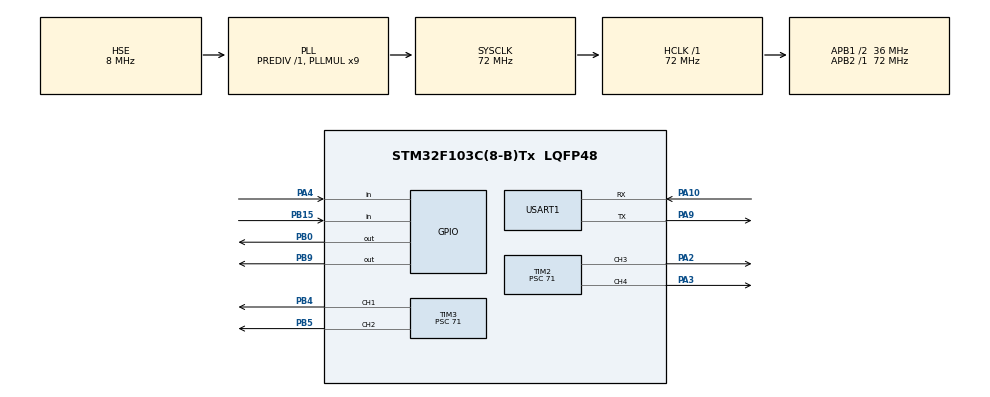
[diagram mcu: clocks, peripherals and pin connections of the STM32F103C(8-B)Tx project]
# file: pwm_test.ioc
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Dma.Request0=USART1_RX
Dma.Request1=USART1_TX
Dma.USART1_RX.0.Direction=DMA_PERIPH_TO_MEMORY
Dma.USART1_RX.0.Instance=DMA1_Channel5
Dma.USART1_RX.0.MemDataAlignment=DMA_MDATAALIGN_BYTE
Dma.USART1_RX.0.MemInc=DMA_MINC_ENABLE
Dma.USART1_RX.0.Mode=DMA_NORMAL
Dma.USART1_RX.0.PeriphDataAlignment=DMA_PDATAALIGN_BYTE
Dma.USART1_RX.0.PeriphInc=DMA_PINC_DISABLE
Dma.USART1_RX.0.Priority=DMA_PRIORITY_LOW
Dma.USART1_TX.1.Direction=DMA_MEMORY_TO_PERIPH
Dma.USART1_TX.1.Instance=DMA1_Channel4
Dma.USART1_TX.1.MemDataAlignment=DMA_MDATAALIGN_BYTE
Dma.USART1_TX.1.MemInc=DMA_MINC_ENABLE
Dma.USART1_TX.1.Mode=DMA_NORMAL
Dma.USART1_TX.1.PeriphDataAlignment=DMA_PDATAALIGN_BYTE
Dma.USART1_TX.1.PeriphInc=DMA_PINC_DISABLE
Dma.USART1_TX.1.Priority=DMA_PRIORITY_LOW
Mcu.Family=STM32F1
Mcu.Name=STM32F103C(8-B)Tx
Mcu.Package=LQFP48
NVIC.DMA1_Channel4_IRQn=true\:0\:0\:false\:false\:true\:false\:true
NVIC.DMA1_Channel5_IRQn=true\:0\:0\:false\:false\:true\:false\:true
NVIC.PriorityGroup=NVIC_PRIORITYGROUP_4
NVIC.USART1_IRQn=true\:0\:0\:false\:false\:true\:true\:true
PA10.GPIO_PuPd=GPIO_NOPULL
PA10.Mode=Asynchronous
PA10.Signal=USART1_RX
PA13.Mode=Serial_Wire
PA13.Signal=SYS_JTMS-SWDIO
PA14.Mode=Serial_Wire
PA14.Signal=SYS_JTCK-SWCLK
PA2.Signal=S_TIM2_CH3
PA3.Signal=S_TIM2_CH4
PA4.GPIO_PuPd=GPIO_NOPULL
PA4.Signal=GPIO_Input
PA9.Mode=Asynchronous
PA9.Signal=USART1_TX
PB0.PinState=GPIO_PIN_SET
PB0.Signal=GPIO_Output
PB15.Signal=GPIO_Input
PB4.Signal=S_TIM3_CH1
PB5.Signal=S_TIM3_CH2
PB9.PinState=GPIO_PIN_SET
PB9.Signal=GPIO_Output
PD0-OSC_IN.Mode=HSE-External-Oscillator
PD0-OSC_IN.Signal=RCC_OSC_IN
PD1-OSC_OUT.Mode=HSE-External-Oscillator
PD1-OSC_OUT.Signal=RCC_OSC_OUT
ProjectManager.HeapSize=0x200
ProjectManager.StackSize=0x400
ProjectManager.TargetToolchain=MDK-ARM V5
RCC.AHBFreq_Value=72000000
RCC.APB1CLKDivider=RCC_HCLK_DIV2
RCC.APB1Freq_Value=36000000
RCC.APB1TimFreq_Value=72000000
RCC.APB2Freq_Value=72000000
RCC.APB2TimFreq_Value=72000000
RCC.HCLKFreq_Value=72000000
RCC.PLLMUL=RCC_PLL_MUL9
RCC.PLLSourceVirtual=RCC_PLLSOURCE_HSE
RCC.SYSCLKFreq_VALUE=72000000
RCC.SYSCLKSource=RCC_SYSCLKSOURCE_PLLCLK
RCC.USBFreq_Value=72000000
SH.S_TIM2_CH3.0=TIM2_CH3,PWM Generation3 CH3
SH.S_TIM2_CH4.0=TIM2_CH4,PWM Generation4 CH4
SH.S_TIM3_CH1.0=TIM3_CH1,PWM Generation1 CH1
SH.S_TIM3_CH2.0=TIM3_CH2,PWM Generation2 CH2
TIM2.Channel-PWM\ Generation3\ CH3=TIM_CHANNEL_3
TIM2.Channel-PWM\ Generation4\ CH4=TIM_CHANNEL_4
TIM2.Period=19999
TIM2.Prescaler=71
TIM3.Channel-PWM\ Generation1\ CH1=TIM_CHANNEL_1
TIM3.Channel-PWM\ Generation2\ CH2=TIM_CHANNEL_2
TIM3.Period=19999
TIM3.Prescaler=71
USART1.VirtualMode=VM_ASYNC
board=custom

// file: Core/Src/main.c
/* USER CODE BEGIN Header */
/**
  ******************************************************************************
  * @file           : main.c
  * @brief          : Main program body
  ******************************************************************************
  * @attention
  *
  * <h2><center>&copy; Copyright (c) 2020 STMicroelectronics.
  * All rights reserved.</center></h2>
  *
  * This software component is licensed by ST under BSD 3-Clause license,
  * the "License"; You may not use this file except in compliance with the
  * License. You may obtain a copy of the License at:
  *                        opensource.org/licenses/BSD-3-Clause
  *
  ******************************************************************************
  */
/* USER CODE END Header */
#include "main.h"
#include "dma.h"
#include "tim.h"
#include "usart.h"
#include "gpio.h"

void SystemClock_Config(void);

/* USER CODE BEGIN 0 */

//状态标志位
int flag1 = 2;
uint8_t flag = 2;
uint8_t flag_last = 2;
uint8_t alive_flag = 0;
uint8_t timeCount = 0;
uint8_t restand = 0;
//复活后使用

//有悬挂舵轮底盘用
int pwm_alive_1 = 1040;//1040
int pwm_alive_2 = 900;//1120
int pwm_alive_3 = 960; //940
int pwm_alive_4 = 1050;//1050

void AGV_alive();
//ture above

/* USER CODE END 0 */

int main(void)
{

  /* MCU Configuration--------------------------------------------------------*/

  /* Reset of all peripherals, Initializes the Flash interface and the Systick. */
  HAL_Init();

  /* Configure the system clock */
  SystemClock_Config();

  /* Initialize all configured peripherals */
  MX_GPIO_Init();
  MX_DMA_Init();
  MX_TIM2_Init();
  MX_TIM3_Init();
  MX_USART1_UART_Init();
  /* USER CODE BEGIN 2 */

	HAL_Delay(2000);

  /* USER CODE END 2 */

  /* Infinite loop */
  while (1)
  {

    /* USER CODE BEGIN 3 */
		AGV_alive();

  }
  /* USER CODE END 3 */
}

void SystemClock_Config(void)
{
  RCC_OscInitTypeDef RCC_OscInitStruct = {0};
  RCC_ClkInitTypeDef RCC_ClkInitStruct = {0};

  /** Initializes the RCC Oscillators according to the specified parameters
  * in the RCC_OscInitTypeDef structure.
  */
  RCC_OscInitStruct.OscillatorType = RCC_OSCILLATORTYPE_HSE;
  RCC_OscInitStruct.HSEState = RCC_HSE_ON;
  RCC_OscInitStruct.HSEPredivValue = RCC_HSE_PREDIV_DIV1;
  RCC_OscInitStruct.HSIState = RCC_HSI_ON;
  RCC_OscInitStruct.PLL.PLLState = RCC_PLL_ON;
  RCC_OscInitStruct.PLL.PLLSource = RCC_PLLSOURCE_HSE;
  RCC_OscInitStruct.PLL.PLLMUL = RCC_PLL_MUL9;
  if (HAL_RCC_OscConfig(&RCC_OscInitStruct) != HAL_OK)
  {
    Error_Handler();
  }
  /** Initializes the CPU, AHB and APB buses clocks
  */
  RCC_ClkInitStruct.ClockType = RCC_CLOCKTYPE_HCLK|RCC_CLOCKTYPE_SYSCLK
                              |RCC_CLOCKTYPE_PCLK1|RCC_CLOCKTYPE_PCLK2;
  RCC_ClkInitStruct.SYSCLKSource = RCC_SYSCLKSOURCE_PLLCLK;
  RCC_ClkInitStruct.AHBCLKDivider = RCC_SYSCLK_DIV1;
  RCC_ClkInitStruct.APB1CLKDivider = RCC_HCLK_DIV2;
  RCC_ClkInitStruct.APB2CLKDivider = RCC_HCLK_DIV1;

  if (HAL_RCC_ClockConfig(&RCC_ClkInitStruct, FLASH_LATENCY_2) != HAL_OK)
  {
    Error_Handler();
  }
}

/* USER CODE BEGIN 4 */
void AGV_alive()
{

	HAL_GPIO_WritePin(GPIOB,GPIO_PIN_0,GPIO_PIN_SET);
	HAL_GPIO_WritePin(GPIOB,GPIO_PIN_9,GPIO_PIN_SET);

	HAL_Delay(300);

	HAL_TIM_PWM_Start(&htim2,TIM_CHANNEL_3);
	__HAL_TIM_SET_COMPARE(&htim2, TIM_CHANNEL_3, pwm_alive_1);
	HAL_Delay(55);
	HAL_TIM_PWM_Stop(&htim2,TIM_CHANNEL_3);

	HAL_Delay(100);

	HAL_TIM_PWM_Start(&htim3,TIM_CHANNEL_1);
	__HAL_TIM_SET_COMPARE(&htim3, TIM_CHANNEL_1, pwm_alive_4);
	HAL_Delay(55);
	HAL_TIM_PWM_Stop(&htim3,TIM_CHANNEL_1);

	HAL_Delay(100);

	HAL_TIM_PWM_Start(&htim2,TIM_CHANNEL_4);
	__HAL_TIM_SET_COMPARE(&htim2, TIM_CHANNEL_4, pwm_alive_2);
	HAL_Delay(55);
	HAL_TIM_PWM_Stop(&htim2,TIM_CHANNEL_4);

	HAL_Delay(100);

	HAL_TIM_PWM_Start(&htim3,TIM_CHANNEL_2);
	__HAL_TIM_SET_COMPARE(&htim3, TIM_CHANNEL_2, pwm_alive_3);
	HAL_Delay(55);
	HAL_TIM_PWM_Stop(&htim3,TIM_CHANNEL_2);

	HAL_Delay(100);

	HAL_Delay(1500);

	HAL_GPIO_WritePin(GPIOB,GPIO_PIN_0,GPIO_PIN_RESET);
	HAL_GPIO_WritePin(GPIOB,GPIO_PIN_9,GPIO_PIN_RESET);

}

/* USER CODE END 4 */

void Error_Handler(void)
{
}

/************************ (C) COPYRIGHT STMicroelectronics *****END OF FILE****/
